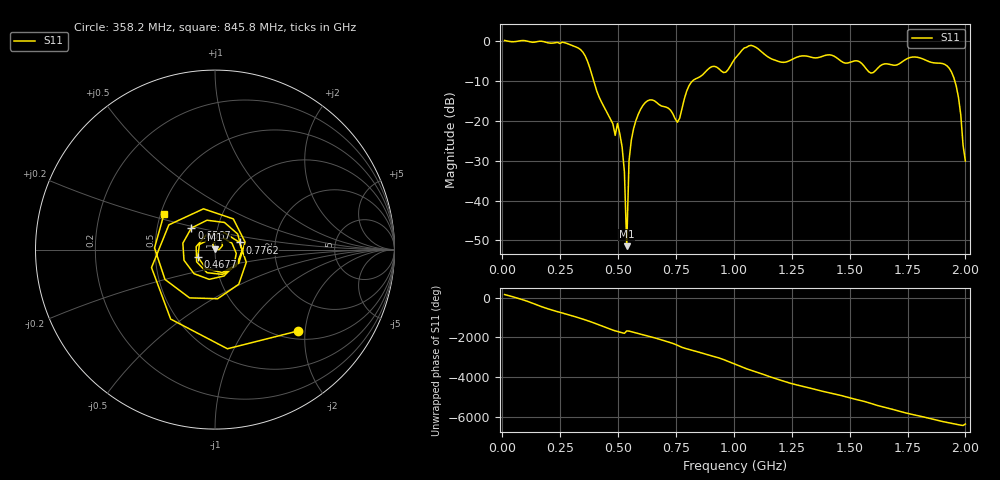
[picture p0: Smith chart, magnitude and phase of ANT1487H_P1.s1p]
!Created with skrf (http://scikit-rf.org).
# Hz S RI R 50.0
!freq ReS11 ImS11
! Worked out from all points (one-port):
!   201 points, 10 MHz to 2 GHz, reference 50 ohm
!   lowest |S11| = -51.5 dB at 537.4 MHz (marker M1), VSWR 1.01, Z = 49.9 + j0.226 ohm
!   |S11| at or under -10 dB: 394.6 MHz to 821.9 MHz (427.4 MHz wide, 70.3 % of centre); 1.954 GHz to end of sweep
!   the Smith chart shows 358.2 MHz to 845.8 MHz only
!   S11 on the Smith chart (normalised r, x): 358.2 MHz: 1.18, -1.84; 467.7 MHz: 0.82, -0.07; 656.8 MHz: 0.75, +0.19; 776.1 MHz: 1.31, +0.11; 845.8 MHz: 0.52, +0.24
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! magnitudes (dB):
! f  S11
! 10 MHz  0.2
! 258.8 MHz  -0.3
! 358.2 MHz  -3.8
! 467.7 MHz  -19.6
! 487.6 MHz  -23.7
! 497.6 MHz  -20.7
! 507.5 MHz  -23.3
! 527.4 MHz  -32.8
! 537.4 MHz  -51.5
! 547.3 MHz  -30.0
! 557.2 MHz  -24.9
! 597 MHz  -17.1
! 656.8 MHz  -15.0
! 756.2 MHz  -20.4
! 776.1 MHz  -16.9
! 806 MHz  -11.2
! 845.8 MHz  -9.2
! 905.5 MHz  -6.4
! 965.2 MHz  -7.8
! 1.005 GHz  -4.4
! 1.075 GHz  -1.1
! 1.254 GHz  -4.5
! 1.502 GHz  -5.3
! 1.592 GHz  -8.0
! 1.751 GHz  -4.3
! 1.94 GHz  -7.8
! 1.97 GHz  -14.1
! 2 GHz  -30.1
